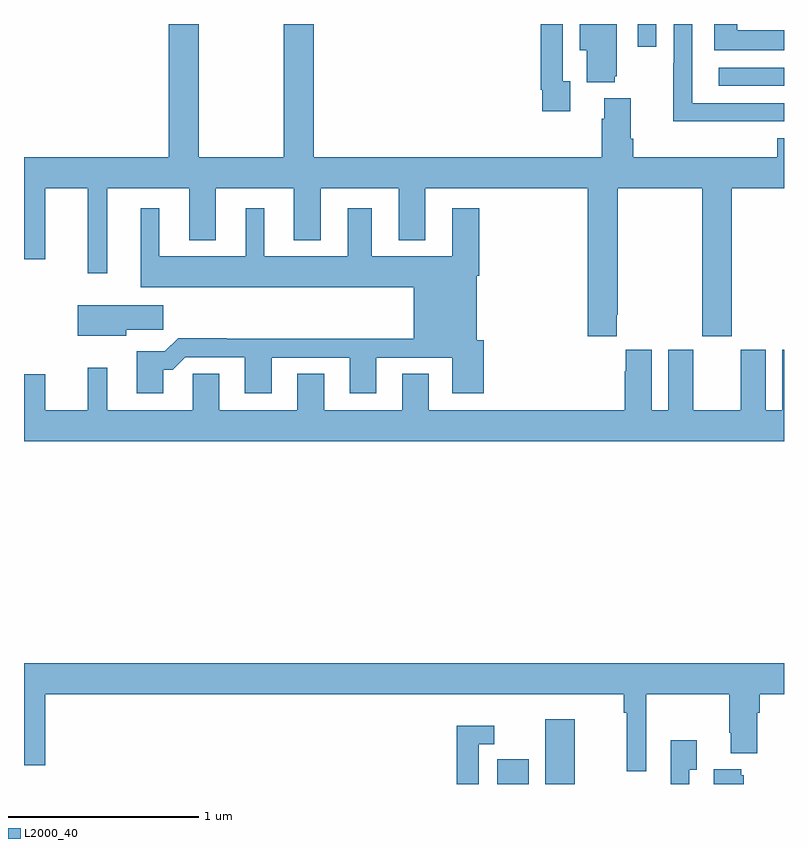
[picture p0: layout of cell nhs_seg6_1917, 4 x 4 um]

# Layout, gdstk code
import gdstk
lib = gdstk.Library(unit=1e-6, precision=1e-09)
def R(c, l, rs):  # rectangles x0, y0, x1, y1
    for r in rs: c.add(gdstk.rectangle(r[:2], r[2:], *l))
def P(c, l, *ps):  # polygons
    for p in ps: c.add(gdstk.Polygon(p, *l))
L2000_40 = (2000, 40)

nhs_seg6_1917 = lib.new_cell('nhs_seg6_1917')
R(nhs_seg6_1917, L2000_40, [(227.492,977.5,227.656,977.629), (227.744,977.5,227.899,977.842), (228.657,981.174,229,981.27), (228.231,981.381,228.327,981.5)])
P(nhs_seg6_1917, L2000_40, [(225,980.262),(225.112,980.262),(225.112,980.636),(225.335,980.636),(225.335,980.187),(225.439,980.187),(225.439,980.636),(225.869,980.636),(225.869,980.363),(226.009,980.363),(226.009,980.636),(226.421,980.636),(226.421,980.363),(226.561,980.363),(226.561,980.636),(226.973,980.636),(226.973,980.363),(227.113,980.363),(227.113,980.636),(227.966,980.636),(227.966,979.857),(228.121,979.857),(228.121,979.969),(228.126,979.969),(228.126,980.636),(228.571,980.636),(228.571,979.857),(228.726,979.857),(228.726,980.636),(229,980.636),(229,980.899),(228.965,980.899),(228.965,980.8),(228.206,980.8),(228.206,980.896),(228.193,980.896),(228.193,981.109),(228.053,981.109),(228.053,981.002),(228.041,981.002),(228.041,980.8),(226.526,980.8),(226.526,981.5),(226.366,981.5),(226.366,980.8),(225.921,980.8),(225.921,981.5),(225.761,981.5),(225.761,980.8),(225,980.8)],
  [(227.875,981.198),(227.835,981.198),(227.835,981.5),(227.719,981.5),(227.719,981.154),(227.727,981.154),(227.727,981.042),(227.875,981.042)],
  [(228.881,980.988),(229,980.988),(229,981.084),(228.516,981.084),(228.516,981.5),(228.42,981.5),(228.42,981.293),(228.418,981.293),(228.418,980.987),(228.881,980.987)],
  [(228.11,981.225),(228.121,981.225),(228.121,981.5),(227.924,981.5),(227.924,981.362),(227.963,981.362),(227.963,981.194),(228.11,981.194)],
  [(229,981.466),(228.753,981.466),(228.753,981.5),(228.632,981.5),(228.632,981.362),(229,981.362)],
  [(225.733,979.679),(225.782,979.679),(225.849,979.746),(226.163,979.746),(226.163,979.557),(226.303,979.557),(226.303,979.743),(226.715,979.743),(226.715,979.557),(226.855,979.557),(226.855,979.743),(227.255,979.743),(227.255,979.557),(227.42,979.557),(227.42,979.836),(227.383,979.836),(227.383,980.174),(227.396,980.174),(227.396,980.53),(227.255,980.53),(227.255,980.278),(226.831,980.278),(226.831,980.53),(226.703,980.53),(226.703,980.278),(226.264,980.278),(226.264,980.53),(226.166,980.53),(226.166,980.278),(225.712,980.278),(225.712,980.53),(225.614,980.53),(225.614,980.114),(227.051,980.114),(227.051,979.844),(226.067,979.844),(226.067,979.847),(225.812,979.847),(225.742,979.777),(225.593,979.777),(225.593,979.557),(225.733,979.557)],
  [(225.538,979.891),(225.733,979.891),(225.733,980.02),(225.284,980.02),(225.284,979.859),(225.538,979.859)],
  [(229,979.786),(228.992,979.786),(228.992,979.468),(228.904,979.468),(228.904,979.786),(228.773,979.786),(228.773,979.468),(228.523,979.468),(228.523,979.786),(228.392,979.786),(228.392,979.468),(228.304,979.468),(228.304,979.786),(228.167,979.786),(228.167,979.673),(228.161,979.673),(228.161,979.468),(227.131,979.468),(227.131,979.658),(226.991,979.658),(226.991,979.468),(226.579,979.468),(226.579,979.658),(226.439,979.658),(226.439,979.468),(226.027,979.468),(226.027,979.658),(225.888,979.658),(225.888,979.468),(225.439,979.468),(225.439,979.69),(225.335,979.69),(225.335,979.468),(225.112,979.468),(225.112,979.657),(225,979.657),(225,979.304),(229,979.304)],
  [(225,977.598),(225.112,977.598),(225.112,977.972),(228.157,977.972),(228.157,977.876),(228.172,977.876),(228.172,977.568),(228.274,977.568),(228.274,977.972),(228.712,977.972),(228.712,977.77),(228.719,977.77),(228.719,977.663),(228.859,977.663),(228.859,977.876),(228.872,977.876),(228.872,977.972),(229,977.972),(229,978.136),(225,978.136)],
  [(227.394,977.709),(227.476,977.709),(227.476,977.806),(227.278,977.806),(227.278,977.5),(227.394,977.5)],
  [(228.501,977.575),(228.541,977.575),(228.541,977.731),(228.404,977.731),(228.404,977.5),(228.501,977.5)],
  [(228.787,977.547),(228.776,977.547),(228.776,977.578),(228.629,977.578),(228.629,977.5),(228.787,977.5)])

lib.write_gds('nhs_seg6_1917.gds')
